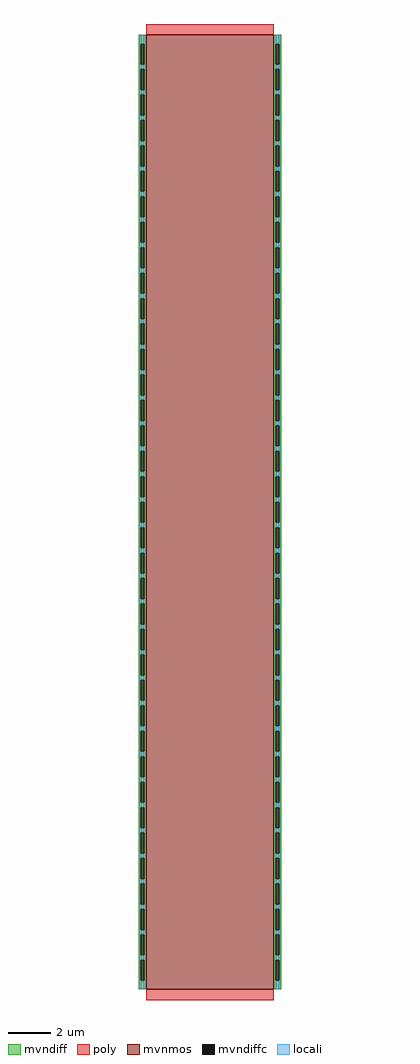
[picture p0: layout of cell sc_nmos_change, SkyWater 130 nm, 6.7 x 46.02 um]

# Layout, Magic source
magic
tech sky130A
<< mvnmos >>
rect 225 601 825 5101
<< mvndiff >>
rect 190 5060 225 5101
rect 190 4960 199 5060
rect 216 4960 225 5060
rect 190 4940 225 4960
rect 190 4840 199 4940
rect 216 4840 225 4940
rect 190 4820 225 4840
rect 190 4720 199 4820
rect 216 4720 225 4820
rect 190 4700 225 4720
rect 190 4600 199 4700
rect 216 4600 225 4700
rect 190 4580 225 4600
rect 190 4480 199 4580
rect 216 4480 225 4580
rect 190 4460 225 4480
rect 190 4360 199 4460
rect 216 4360 225 4460
rect 190 4340 225 4360
rect 190 4240 199 4340
rect 216 4240 225 4340
rect 190 4220 225 4240
rect 190 4120 199 4220
rect 216 4120 225 4220
rect 190 4100 225 4120
rect 190 4000 199 4100
rect 216 4000 225 4100
rect 190 3980 225 4000
rect 190 3880 199 3980
rect 216 3880 225 3980
rect 190 3860 225 3880
rect 190 3760 199 3860
rect 216 3760 225 3860
rect 190 3740 225 3760
rect 190 3640 199 3740
rect 216 3640 225 3740
rect 190 3620 225 3640
rect 190 3520 199 3620
rect 216 3520 225 3620
rect 190 3500 225 3520
rect 190 3400 199 3500
rect 216 3400 225 3500
rect 190 3380 225 3400
rect 190 3280 199 3380
rect 216 3280 225 3380
rect 190 3260 225 3280
rect 190 3160 199 3260
rect 216 3160 225 3260
rect 190 3140 225 3160
rect 190 3040 199 3140
rect 216 3040 225 3140
rect 190 3020 225 3040
rect 190 2920 199 3020
rect 216 2920 225 3020
rect 190 2900 225 2920
rect 190 2800 199 2900
rect 216 2800 225 2900
rect 190 2780 225 2800
rect 190 2680 199 2780
rect 216 2680 225 2780
rect 190 2660 225 2680
rect 190 2560 199 2660
rect 216 2560 225 2660
rect 190 2540 225 2560
rect 190 2440 199 2540
rect 216 2440 225 2540
rect 190 2420 225 2440
rect 190 2320 199 2420
rect 216 2320 225 2420
rect 190 2300 225 2320
rect 190 2200 199 2300
rect 216 2200 225 2300
rect 190 2180 225 2200
rect 190 2080 199 2180
rect 216 2080 225 2180
rect 190 2060 225 2080
rect 190 1960 199 2060
rect 216 1960 225 2060
rect 190 1940 225 1960
rect 190 1840 199 1940
rect 216 1840 225 1940
rect 190 1820 225 1840
rect 190 1720 199 1820
rect 216 1720 225 1820
rect 190 1700 225 1720
rect 190 1600 199 1700
rect 216 1600 225 1700
rect 190 1580 225 1600
rect 190 1480 199 1580
rect 216 1480 225 1580
rect 190 1460 225 1480
rect 190 1360 199 1460
rect 216 1360 225 1460
rect 190 1340 225 1360
rect 190 1240 199 1340
rect 216 1240 225 1340
rect 190 1220 225 1240
rect 190 1120 199 1220
rect 216 1120 225 1220
rect 190 1100 225 1120
rect 190 1000 199 1100
rect 216 1000 225 1100
rect 190 980 225 1000
rect 190 880 199 980
rect 216 880 225 980
rect 190 860 225 880
rect 190 760 199 860
rect 216 760 225 860
rect 190 740 225 760
rect 190 640 199 740
rect 216 640 225 740
rect 190 601 225 640
rect 825 5060 860 5101
rect 825 4960 834 5060
rect 851 4960 860 5060
rect 825 4940 860 4960
rect 825 4840 834 4940
rect 851 4840 860 4940
rect 825 4820 860 4840
rect 825 4720 834 4820
rect 851 4720 860 4820
rect 825 4700 860 4720
rect 825 4600 834 4700
rect 851 4600 860 4700
rect 825 4580 860 4600
rect 825 4480 834 4580
rect 851 4480 860 4580
rect 825 4460 860 4480
rect 825 4360 834 4460
rect 851 4360 860 4460
rect 825 4340 860 4360
rect 825 4240 834 4340
rect 851 4240 860 4340
rect 825 4220 860 4240
rect 825 4120 834 4220
rect 851 4120 860 4220
rect 825 4100 860 4120
rect 825 4000 834 4100
rect 851 4000 860 4100
rect 825 3980 860 4000
rect 825 3880 834 3980
rect 851 3880 860 3980
rect 825 3860 860 3880
rect 825 3760 834 3860
rect 851 3760 860 3860
rect 825 3740 860 3760
rect 825 3640 834 3740
rect 851 3640 860 3740
rect 825 3620 860 3640
rect 825 3520 834 3620
rect 851 3520 860 3620
rect 825 3500 860 3520
rect 825 3400 834 3500
rect 851 3400 860 3500
rect 825 3380 860 3400
rect 825 3280 834 3380
rect 851 3280 860 3380
rect 825 3260 860 3280
rect 825 3160 834 3260
rect 851 3160 860 3260
rect 825 3140 860 3160
rect 825 3040 834 3140
rect 851 3040 860 3140
rect 825 3020 860 3040
rect 825 2920 834 3020
rect 851 2920 860 3020
rect 825 2900 860 2920
rect 825 2800 834 2900
rect 851 2800 860 2900
rect 825 2780 860 2800
rect 825 2680 834 2780
rect 851 2680 860 2780
rect 825 2660 860 2680
rect 825 2560 834 2660
rect 851 2560 860 2660
rect 825 2540 860 2560
rect 825 2440 834 2540
rect 851 2440 860 2540
rect 825 2420 860 2440
rect 825 2320 834 2420
rect 851 2320 860 2420
rect 825 2300 860 2320
rect 825 2200 834 2300
rect 851 2200 860 2300
rect 825 2180 860 2200
rect 825 2080 834 2180
rect 851 2080 860 2180
rect 825 2060 860 2080
rect 825 1960 834 2060
rect 851 1960 860 2060
rect 825 1940 860 1960
rect 825 1840 834 1940
rect 851 1840 860 1940
rect 825 1820 860 1840
rect 825 1720 834 1820
rect 851 1720 860 1820
rect 825 1700 860 1720
rect 825 1600 834 1700
rect 851 1600 860 1700
rect 825 1580 860 1600
rect 825 1480 834 1580
rect 851 1480 860 1580
rect 825 1460 860 1480
rect 825 1360 834 1460
rect 851 1360 860 1460
rect 825 1340 860 1360
rect 825 1240 834 1340
rect 851 1240 860 1340
rect 825 1220 860 1240
rect 825 1120 834 1220
rect 851 1120 860 1220
rect 825 1100 860 1120
rect 825 1000 834 1100
rect 851 1000 860 1100
rect 825 980 860 1000
rect 825 880 834 980
rect 851 880 860 980
rect 825 860 860 880
rect 825 760 834 860
rect 851 760 860 860
rect 825 740 860 760
rect 825 640 834 740
rect 851 640 860 740
rect 825 601 860 640
<< mvndiffc >>
rect 199 4960 216 5060
rect 199 4840 216 4940
rect 199 4720 216 4820
rect 199 4600 216 4700
rect 199 4480 216 4580
rect 199 4360 216 4460
rect 199 4240 216 4340
rect 199 4120 216 4220
rect 199 4000 216 4100
rect 199 3880 216 3980
rect 199 3760 216 3860
rect 199 3640 216 3740
rect 199 3520 216 3620
rect 199 3400 216 3500
rect 199 3280 216 3380
rect 199 3160 216 3260
rect 199 3040 216 3140
rect 199 2920 216 3020
rect 199 2800 216 2900
rect 199 2680 216 2780
rect 199 2560 216 2660
rect 199 2440 216 2540
rect 199 2320 216 2420
rect 199 2200 216 2300
rect 199 2080 216 2180
rect 199 1960 216 2060
rect 199 1840 216 1940
rect 199 1720 216 1820
rect 199 1600 216 1700
rect 199 1480 216 1580
rect 199 1360 216 1460
rect 199 1240 216 1340
rect 199 1120 216 1220
rect 199 1000 216 1100
rect 199 880 216 980
rect 199 760 216 860
rect 199 640 216 740
rect 834 4960 851 5060
rect 834 4840 851 4940
rect 834 4720 851 4820
rect 834 4600 851 4700
rect 834 4480 851 4580
rect 834 4360 851 4460
rect 834 4240 851 4340
rect 834 4120 851 4220
rect 834 4000 851 4100
rect 834 3880 851 3980
rect 834 3760 851 3860
rect 834 3640 851 3740
rect 834 3520 851 3620
rect 834 3400 851 3500
rect 834 3280 851 3380
rect 834 3160 851 3260
rect 834 3040 851 3140
rect 834 2920 851 3020
rect 834 2800 851 2900
rect 834 2680 851 2780
rect 834 2560 851 2660
rect 834 2440 851 2540
rect 834 2320 851 2420
rect 834 2200 851 2300
rect 834 2080 851 2180
rect 834 1960 851 2060
rect 834 1840 851 1940
rect 834 1720 851 1820
rect 834 1600 851 1700
rect 834 1480 851 1580
rect 834 1360 851 1460
rect 834 1240 851 1340
rect 834 1120 851 1220
rect 834 1000 851 1100
rect 834 880 851 980
rect 834 760 851 860
rect 834 640 851 740
<< poly >>
rect 225 5101 825 5152
rect 225 550 825 601
<< locali >>
rect 199 5060 216 5101
rect 199 4940 216 4960
rect 199 4820 216 4840
rect 199 4700 216 4720
rect 199 4580 216 4600
rect 199 4460 216 4480
rect 199 4340 216 4360
rect 199 4220 216 4240
rect 199 4100 216 4120
rect 199 3980 216 4000
rect 199 3860 216 3880
rect 199 3740 216 3760
rect 199 3620 216 3640
rect 199 3500 216 3520
rect 199 3380 216 3400
rect 199 3260 216 3280
rect 199 3140 216 3160
rect 199 3020 216 3040
rect 199 2900 216 2920
rect 199 2780 216 2800
rect 199 2660 216 2680
rect 199 2540 216 2560
rect 199 2420 216 2440
rect 199 2300 216 2320
rect 199 2180 216 2200
rect 199 2060 216 2080
rect 199 1940 216 1960
rect 199 1820 216 1840
rect 199 1700 216 1720
rect 199 1580 216 1600
rect 199 1460 216 1480
rect 199 1340 216 1360
rect 199 1220 216 1240
rect 199 1100 216 1120
rect 199 980 216 1000
rect 199 860 216 880
rect 199 740 216 760
rect 199 601 216 640
rect 834 5060 851 5101
rect 834 4940 851 4960
rect 834 4820 851 4840
rect 834 4700 851 4720
rect 834 4580 851 4600
rect 834 4460 851 4480
rect 834 4340 851 4360
rect 834 4220 851 4240
rect 834 4100 851 4120
rect 834 3980 851 4000
rect 834 3860 851 3880
rect 834 3740 851 3760
rect 834 3620 851 3640
rect 834 3500 851 3520
rect 834 3380 851 3400
rect 834 3260 851 3280
rect 834 3140 851 3160
rect 834 3020 851 3040
rect 834 2900 851 2920
rect 834 2780 851 2800
rect 834 2660 851 2680
rect 834 2540 851 2560
rect 834 2420 851 2440
rect 834 2300 851 2320
rect 834 2180 851 2200
rect 834 2060 851 2080
rect 834 1940 851 1960
rect 834 1820 851 1840
rect 834 1700 851 1720
rect 834 1580 851 1600
rect 834 1460 851 1480
rect 834 1340 851 1360
rect 834 1220 851 1240
rect 834 1100 851 1120
rect 834 980 851 1000
rect 834 860 851 880
rect 834 740 851 760
rect 834 601 851 640
<< end >>
